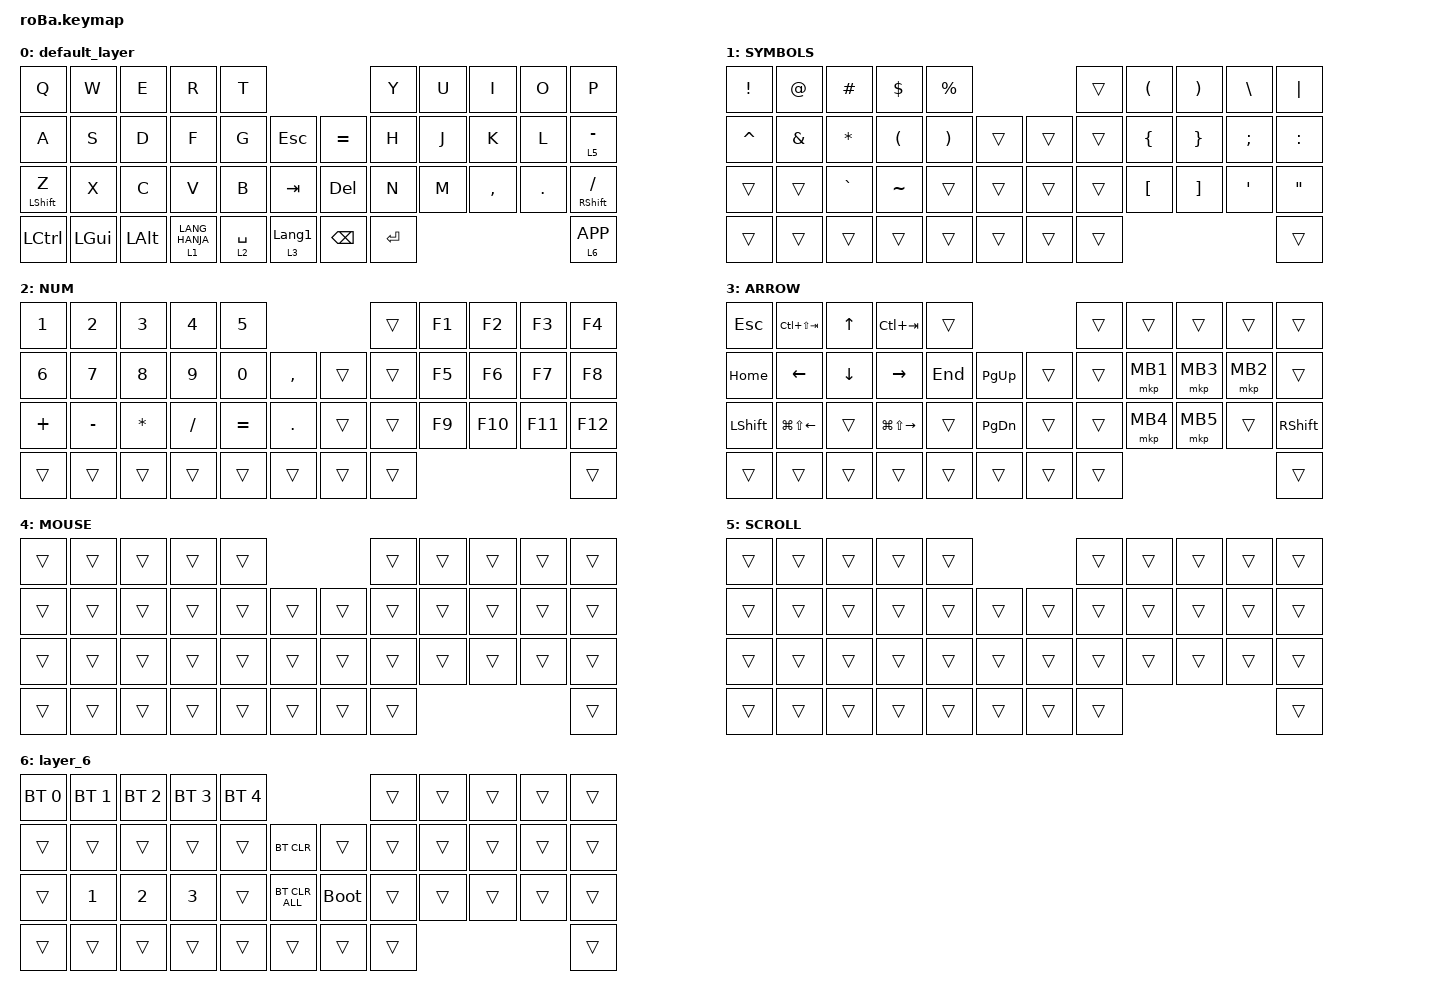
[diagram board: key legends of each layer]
#include <behaviors.dtsi>
#include <dt-bindings/zmk/bt.h>
#include <dt-bindings/zmk/keys.h>
#include <dt-bindings/zmk/pointing.h>

&mt {
    flavor = "balanced";
    quick-tap-ms = <0>;
};

&trackball {
    automouse-layer = <4>;
    scroll-layers = <5>;

    // arrows {
    //     layers = <3>;
    //     bindings =
    //         <&kp RIGHT_ARROW>,
    //         <&kp LEFT_ARROW>,
    //         <&kp UP_ARROW>,
    //         <&kp DOWN_ARROW>;
    //     tick = <10>;
    //     wait-ms = <5>;
    //     tap-ms = <5>;
    // };
};

/ {
    combos {
        compatible = "zmk,combos";

        leftclick {
            bindings = <&mkp MB1>;
            key-positions = <18 19>;
        };

        rightclick {
            bindings = <&mkp MB2>;
            key-positions = <19 20>;
        };

        middleclick {
            bindings = <&mkp MB3>;
            key-positions = <18 20>;
        };

        prevclick {
            bindings = <&mkp MB4>;
            key-positions = <30 31>;
        };

        nextclick {
            bindings = <&mkp MB5>;
            key-positions = <31 32>;
        };
    };

    macros {
        to_layer_0: to_layer_0 {
            compatible = "zmk,behavior-macro-one-param";
            #binding-cells = <1>;
            bindings = <&to 0 &macro_param_1to1 &kp MACRO_PLACEHOLDER>;
            label = "TO_LAYER_0";
        };
    };

    behaviors {
        lt_to_layer_0: lt_to_layer_0 {
            compatible = "zmk,behavior-hold-tap";
            label = "LAYER_TAP_TO_0";
            bindings = <&mo>, <&to_layer_0>;

            #binding-cells = <2>;
            tapping-term-ms = <200>;
        };

        ENCODER_MSC_DOWN_UP: ENCODER_MSC_DOWN_UP {
            compatible = "zmk,behavior-sensor-rotate";
            label = "ENCODER_MSC_DOWN_UP";
            #sensor-binding-cells = <0>;
            bindings = <&msc SCRL_DOWN>, <&msc SCRL_UP>;

            tap-ms = <20>;
        };
    };

    keymap {
        compatible = "zmk,keymap";

        default_layer {
            bindings = <
&kp Q             &kp W         &kp E         &kp R             &kp T                                             &kp Y      &kp U  &kp I      &kp O    &kp P
&kp A             &kp S         &kp D         &kp F             &kp G        &kp ESC               &kp EQUAL      &kp H      &kp J  &kp K      &kp L    &lt 5 MINUS
&mt LEFT_SHIFT Z  &kp X         &kp C         &kp V             &kp B        &kp TAB               &kp DEL        &kp N      &kp M  &kp COMMA  &kp DOT  &mt RIGHT_SHIFT SLASH
&kp LEFT_CONTROL  &kp LEFT_GUI  &kp LEFT_ALT  &lt 1 LANG_HANJA  &lt 2 SPACE  &lt 3 LANGUAGE_1      &kp BACKSPACE  &kp ENTER                             &lt 6 K_APP
            >;
        };

        SYMBOLS {
            bindings = <
&kp EXCLAMATION  &kp AT         &kp HASH   &kp DOLLAR            &kp PERCENT                                &trans  &kp LEFT_PARENTHESIS  &kp RIGHT_PARENTHESIS  &kp BACKSLASH     &kp PIPE
&kp CARET        &kp AMPERSAND  &kp ASTRK  &kp LEFT_PARENTHESIS  &kp RIGHT_PARENTHESIS  &trans      &trans  &trans  &kp LEFT_BRACE        &kp RIGHT_BRACE        &kp SEMICOLON     &kp COLON
&trans           &trans         &kp GRAVE  &kp TILDE             &trans                 &trans      &trans  &trans  &kp LEFT_BRACKET      &kp RIGHT_BRACKET      &kp SINGLE_QUOTE  &kp DOUBLE_QUOTES
&trans           &trans         &trans     &trans                &trans                 &trans      &trans  &trans                                                                 &trans
            >;
        };

        NUM {
            bindings = <
&kp N1    &kp N2     &kp N3     &kp N4     &kp N5                             &trans  &kp F1  &kp F2   &kp F3   &kp F4
&kp N6    &kp N7     &kp N8     &kp N9     &kp N0     &kp COMMA       &trans  &trans  &kp F5  &kp F6   &kp F7   &kp F8
&kp PLUS  &kp MINUS  &kp ASTRK  &kp SLASH  &kp EQUAL  &kp PERIOD      &trans  &trans  &kp F9  &kp F10  &kp F11  &kp F12
&trans    &trans     &trans     &trans     &trans     &trans          &trans  &trans                            &trans
            >;
        };

        ARROW {
            bindings = <
&kp ESCAPE      &kp LC(LS(TAB))         &kp UP_ARROW    &kp LC(TAB)              &trans                              &trans  &trans    &trans    &trans    &trans
&kp HOME        &kp LEFT_ARROW          &kp DOWN_ARROW  &kp RIGHT_ARROW          &kp END  &kp PAGE_UP        &trans  &trans  &mkp MB1  &mkp MB3  &mkp MB2  &trans
&kp LEFT_SHIFT  &kp LG(LS(LEFT_ARROW))  &trans          &kp LG(LS(RIGHT_ARROW))  &trans   &kp PAGE_DOWN      &trans  &trans  &mkp MB4  &mkp MB5  &trans    &kp RIGHT_SHIFT
&trans          &trans                  &trans          &trans                   &trans   &trans             &trans  &trans                                &trans
            >;
        };

        MOUSE {
            bindings = <
&trans  &trans  &trans  &trans  &trans                      &trans  &trans  &trans  &trans  &trans
&trans  &trans  &trans  &trans  &trans  &trans      &trans  &trans  &trans  &trans  &trans  &trans
&trans  &trans  &trans  &trans  &trans  &trans      &trans  &trans  &trans  &trans  &trans  &trans
&trans  &trans  &trans  &trans  &trans  &trans      &trans  &trans                          &trans
            >;
        };

        SCROLL {
            bindings = <
&trans  &trans  &trans  &trans  &trans                      &trans  &trans  &trans  &trans  &trans
&trans  &trans  &trans  &trans  &trans  &trans      &trans  &trans  &trans  &trans  &trans  &trans
&trans  &trans  &trans  &trans  &trans  &trans      &trans  &trans  &trans  &trans  &trans  &trans
&trans  &trans  &trans  &trans  &trans  &trans      &trans  &trans                          &trans
            >;
        };

        layer_6 {
            bindings = <
&bt BT_SEL 0  &bt BT_SEL 1  &bt BT_SEL 2  &bt BT_SEL 3  &bt BT_SEL 4                                   &trans  &trans  &trans  &trans  &trans
&trans        &trans        &trans        &trans        &trans        &bt BT_CLR          &trans       &trans  &trans  &trans  &trans  &trans
&trans        &kp NUMBER_1  &kp NUMBER_2  &kp NUMBER_3  &trans        &bt BT_CLR_ALL      &bootloader  &trans  &trans  &trans  &trans  &trans
&trans        &trans        &trans        &trans        &trans        &trans              &trans       &trans                          &trans
            >;
        };
    };
};
